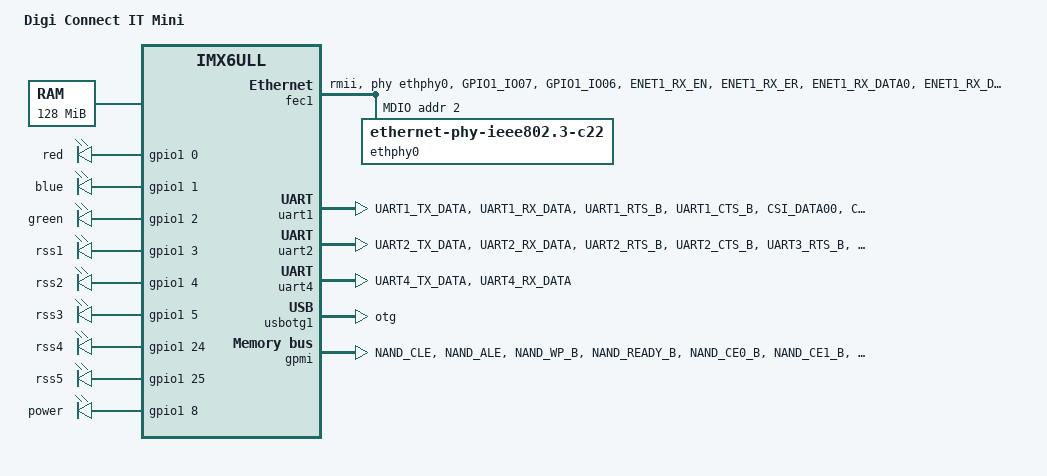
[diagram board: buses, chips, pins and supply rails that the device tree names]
/*
 * Copyright (C) 2016 Freescale Semiconductor, Inc.
 * Copyright (C) 2017-2018 Accelerated Concepts Pty Ltd
 *
 * This program is free software; you can redistribute it and/or modify
 * it under the terms of the GNU General Public License version 2 as
 * published by the Free Software Foundation.
 */

/dts-v1/;

#include "imx6ull.dtsi"

/ {
	model = "Digi Connect IT Mini";
	compatible = "digi,connectit-mini", "fsl,imx6ull";

	chosen {
		stdout-path = &uart4;
	};

	memory {
		reg = <0x80000000 0x8000000>;
	};

	cpus {
		cpu0: cpu@0 {
			operating-points = <
                                /* kHz  uV */
                                900000  1275000
                                528000  1175000
                                396000  1025000
                                198000  950000
                        >;
                        fsl,soc-operating-points = <
                                /* KHz  uV */
                                900000  1275000
                                528000  1175000
                                396000  1175000
                                198000  1175000
                        >;
		};
	};

	regulators {
		compatible = "simple-bus";
		#address-cells = <1>;
		#size-cells = <0>;
	};

	leds {
		compatible = "gpio-leds";

		red-led {
			label = "red";
			pinctrl-names = "default";
			pinctrl-0 = <&pinctrl_leds>;
			gpios = <&gpio1 0 GPIO_ACTIVE_HIGH>;
			linux,default-trigger = "none";
		};

		blue-led {
			label = "blue";
			pinctrl-names = "default";
			pinctrl-0 = <&pinctrl_leds>;
			gpios = <&gpio1 1 GPIO_ACTIVE_HIGH>;
			linux,default-trigger = "none";
		};

		green-led {
			label = "green";
			pinctrl-names = "default";
			pinctrl-0 = <&pinctrl_leds>;
			gpios = <&gpio1 2 GPIO_ACTIVE_HIGH>;
			linux,default-trigger = "none";
		};

		rss1-led {
			label = "rss1";
			pinctrl-names = "default";
			pinctrl-0 = <&pinctrl_leds>;
			gpios = <&gpio1 3 GPIO_ACTIVE_HIGH>;
			linux,default-trigger = "none";
		};

		rss2-led {
			label = "rss2";
			pinctrl-names = "default";
			pinctrl-0 = <&pinctrl_leds>;
			gpios = <&gpio1 4 GPIO_ACTIVE_HIGH>;
			linux,default-trigger = "none";
		};

		rss3-led {
			label = "rss3";
			pinctrl-names = "default";
			pinctrl-0 = <&pinctrl_leds>;
			gpios = <&gpio1 5 GPIO_ACTIVE_HIGH>;
			linux,default-trigger = "none";
		};

		rss4-led {
			label = "rss4";
			pinctrl-names = "default";
			pinctrl-0 = <&pinctrl_leds>;
			gpios = <&gpio1 24 GPIO_ACTIVE_HIGH>;
			linux,default-trigger = "none";
		};

		rss5-led {
			label = "rss5";
			pinctrl-names = "default";
			pinctrl-0 = <&pinctrl_leds>;
			gpios = <&gpio1 25 GPIO_ACTIVE_HIGH>;
			linux,default-trigger = "none";
		};

		power-led {
			label = "power";
			pinctrl-names = "default";
			pinctrl-0 = <&pinctrl_leds>;
			gpios = <&gpio1 8 GPIO_ACTIVE_HIGH>;
			linux,default-trigger = "none";
		};
	};
};

&cpu0 {
	arm-supply = <&reg_arm>;
	soc-supply = <&reg_soc>;
};

&fec1 {
	pinctrl-names = "default";
	pinctrl-0 = <&pinctrl_enet1>;
	phy-mode = "rmii";
	phy-handle = <&ethphy0>;
	status = "okay";

	mdio {
		#address-cells = <1>;
		#size-cells = <0>;

		ethphy0: ethernet-phy@2 {
			compatible = "ethernet-phy-ieee802.3-c22";
			reg = <2>;
		};
	};
};

&uart1 {
	pinctrl-names = "default";
	pinctrl-0 = <&pinctrl_uart1>;
        uart-has-rtscts;
        fsl,uart-has-dtr-gpio = <&gpio4 22 GPIO_ACTIVE_HIGH>;
        fsl,uart-has-dcd-gpio = <&gpio4 21 GPIO_ACTIVE_HIGH>;
	status = "okay";
};

&uart2 {
	pinctrl-names = "default";
	pinctrl-0 = <&pinctrl_uart2>;
	uart-has-rtscts;
	fsl,uart-has-dtr-gpio = <&gpio1 27 GPIO_ACTIVE_HIGH>;
	fsl,uart-has-dcd-gpio = <&gpio4 23 GPIO_ACTIVE_HIGH>;
	status = "okay";
};

&uart4 {
	pinctrl-names = "default";
	pinctrl-0 = <&pinctrl_uart4>;
	status = "okay";
};

&usbotg1 {
	dr_mode = "otg";
	srp-disable;
	hnp-disable;
	adp-disable;
	status = "okay";
};

&usbphy1 {
	tx-d-cal = <0x5>;
};

&wdog1 {
	pinctrl-names = "default";
	pinctrl-0 = <&pinctrl_wdog>;
	fsl,wdog_b;
};

&gpmi {
	pinctrl-names = "default";
	pinctrl-0 = <&pinctrl_gpmi_nand>;
	status = "okay";
	fsl,legacy-bch-geometry;

	partition@0 {
		label="u-boot";
		reg = <0x00000000 0x00500000>;
	};
	partition@1 {
		label="u-boot-env";
		reg = <0x00500000 0x00100000>;
	};
	partition@2 {
		label="log";
		reg = <0x00600000 0x00200000>;
	};
	partition@3 {
		label="flash";
		reg = <0x00800000 0>;
	};
	partition@4 {
		label="all";
		reg = <0x00000000 0>;
	};
};

&iomuxc {
	pinctrl-names = "default";

	pinctrl_enet1: enet1grp {
		fsl,pins = <
			MX6UL_PAD_GPIO1_IO07__ENET1_MDC		0x1b0b0
			MX6UL_PAD_GPIO1_IO06__ENET1_MDIO	0x1b0b0
			MX6UL_PAD_ENET1_RX_EN__ENET1_RX_EN	0x1b0b0
			MX6UL_PAD_ENET1_RX_ER__ENET1_RX_ER	0x1b0b0
			MX6UL_PAD_ENET1_RX_DATA0__ENET1_RDATA00	0x1b0b0
			MX6UL_PAD_ENET1_RX_DATA1__ENET1_RDATA01	0x1b0b0
			MX6UL_PAD_ENET1_TX_EN__ENET1_TX_EN	0x1b0b0
			MX6UL_PAD_ENET1_TX_DATA0__ENET1_TDATA00	0x1b0b0
			MX6UL_PAD_ENET1_TX_DATA1__ENET1_TDATA01	0x1b0b0
			MX6UL_PAD_ENET1_TX_CLK__ENET1_REF_CLK1	0x4001b031
		>;
	};

	pinctrl_uart1: uart1grp {
		fsl,pins = <
			MX6UL_PAD_UART1_TX_DATA__UART1_DCE_TX 0x1b0b1
			MX6UL_PAD_UART1_RX_DATA__UART1_DCE_RX 0x1b0b1
			MX6UL_PAD_UART1_RTS_B__UART1_DCE_RTS 0x1b0b1
			MX6UL_PAD_UART1_CTS_B__UART1_DCE_CTS 0x1b0b1
			MX6UL_PAD_CSI_DATA00__GPIO4_IO21 0x1b0b1
			MX6UL_PAD_CSI_DATA01__GPIO4_IO22 0x1b0b1
		>;
	};

	pinctrl_uart2: uart2grp {
		fsl,pins = <
			MX6UL_PAD_UART2_TX_DATA__UART2_DCE_TX 0x1b0b1
			MX6UL_PAD_UART2_RX_DATA__UART2_DCE_RX 0x1b0b1
			MX6UL_PAD_UART2_RTS_B__UART2_DCE_RTS 0x1b0b1
			MX6UL_PAD_UART2_CTS_B__UART2_DCE_CTS 0x1b0b1
			MX6UL_PAD_UART3_RTS_B__GPIO1_IO27 0x1b0b1
			MX6UL_PAD_UART3_CTS_B__GPIO1_IO26 0x1b0b1
			MX6UL_PAD_CSI_DATA02__GPIO4_IO23 0x1b0b1
		>;
	};

	pinctrl_uart4: uart4grp {
		fsl,pins = <
			MX6UL_PAD_UART4_TX_DATA__UART4_DCE_TX 0x1b0b1
			MX6UL_PAD_UART4_RX_DATA__UART4_DCE_RX 0x1b0b1
		>;
	};

	pinctrl_wdog: wdoggrp {
		fsl,pins = <
			MX6UL_PAD_LCD_RESET__WDOG1_WDOG_ANY    0x30b0
		>;
	};

	pinctrl_gpmi_nand: gpmi-nand-1 {
		fsl,pins = <
			MX6UL_PAD_NAND_CLE__RAWNAND_CLE         0xb0b1
			MX6UL_PAD_NAND_ALE__RAWNAND_ALE         0xb0b1
			MX6UL_PAD_NAND_WP_B__RAWNAND_WP_B       0xb0b1
			MX6UL_PAD_NAND_READY_B__RAWNAND_READY_B 0xb000
			MX6UL_PAD_NAND_CE0_B__RAWNAND_CE0_B     0xb0b1
			MX6UL_PAD_NAND_CE1_B__RAWNAND_CE1_B     0xb0b1
			MX6UL_PAD_NAND_RE_B__RAWNAND_RE_B       0xb0b1
			MX6UL_PAD_NAND_WE_B__RAWNAND_WE_B       0xb0b1
			MX6UL_PAD_NAND_DATA00__RAWNAND_DATA00   0xb0b1
			MX6UL_PAD_NAND_DATA01__RAWNAND_DATA01   0xb0b1
			MX6UL_PAD_NAND_DATA02__RAWNAND_DATA02   0xb0b1
			MX6UL_PAD_NAND_DATA03__RAWNAND_DATA03   0xb0b1
			MX6UL_PAD_NAND_DATA04__RAWNAND_DATA04   0xb0b1
			MX6UL_PAD_NAND_DATA05__RAWNAND_DATA05   0xb0b1
			MX6UL_PAD_NAND_DATA06__RAWNAND_DATA06   0xb0b1
			MX6UL_PAD_NAND_DATA07__RAWNAND_DATA07   0xb0b1
		>;
	};

	pinctrl_leds: ledsgrp {
		fsl,pins = <
			MX6UL_PAD_GPIO1_IO00__GPIO1_IO00	0x00010
			MX6UL_PAD_GPIO1_IO01__GPIO1_IO01	0x00010
			MX6UL_PAD_GPIO1_IO02__GPIO1_IO02	0x00010
			MX6UL_PAD_GPIO1_IO03__GPIO1_IO03	0x00010
			MX6UL_PAD_GPIO1_IO04__GPIO1_IO04	0x00010
			MX6UL_PAD_GPIO1_IO05__GPIO1_IO05	0x00010
			MX6UL_PAD_UART3_TX_DATA__GPIO1_IO24	0x00010
			MX6UL_PAD_UART3_RX_DATA__GPIO1_IO25	0x00010
			MX6UL_PAD_GPIO1_IO08__GPIO1_IO08	0x00010
			MX6UL_PAD_SD1_CLK__GPIO2_IO17		0x00000
		>;
	};
};

